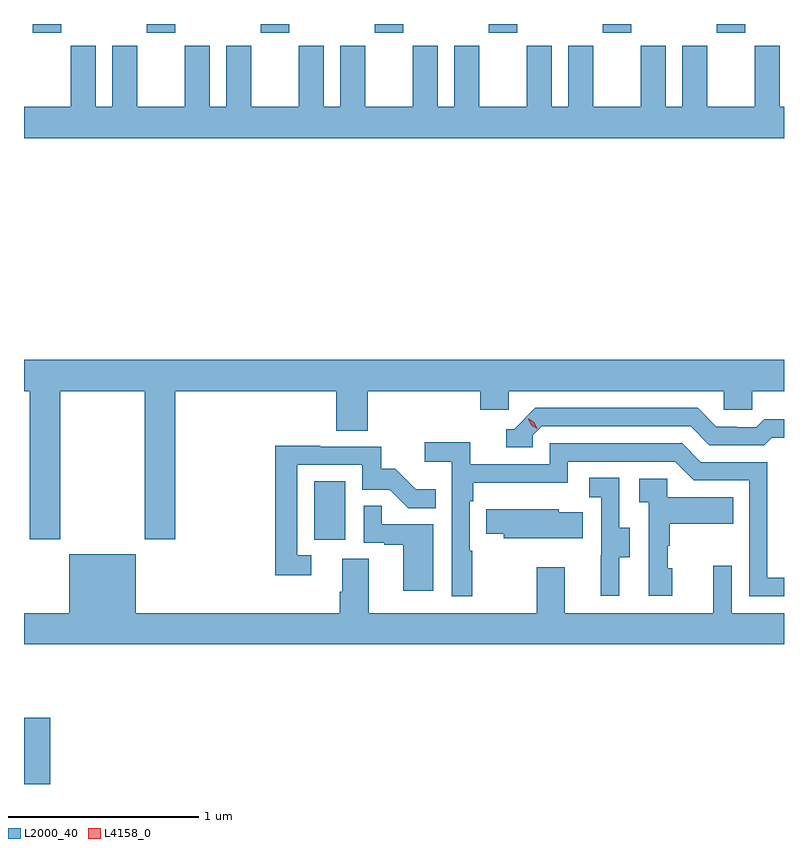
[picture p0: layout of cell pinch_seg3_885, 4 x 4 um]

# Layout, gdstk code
import gdstk
lib = gdstk.Library(unit=1e-6, precision=1e-09)
def R(c, l, rs):  # rectangles x0, y0, x1, y1
    for r in rs: c.add(gdstk.rectangle(r[:2], r[2:], *l))
def A(c, l, x, y, w, h, nx, ny, dx, dy):  # array of equal rectangles
    R(c, l, [(x+i*dx, y+j*dy, x+i*dx+w, y+j*dy+h) for i in range(nx) for j in range(ny)])
def P(c, l, *ps):  # polygons
    for p in ps: c.add(gdstk.Polygon(p, *l))
L2000_40 = (2000, 40)
L4158_0 = (4158, 0)

pinch_seg3_885 = lib.new_cell('pinch_seg3_885')
A(pinch_seg3_885, L2000_40, 856.257, 708.129, 0.15, 0.047, 7, 1, 0.6, 0)
R(pinch_seg3_885, L2000_40, [(856.211,704.176,856.349,704.524), (857.738,705.462,857.902,705.769)])
P(pinch_seg3_885, L2000_40, [(857.876,708.061),(857.876,707.74),(857.788,707.74),(857.788,708.061),(857.658,708.061),(857.658,707.948),(857.657,707.948),(857.657,707.74),(857.407,707.74),(857.407,707.948),(857.406,707.948),(857.406,708.061),(857.276,708.061),(857.276,707.74),(857.188,707.74),(857.188,708.061),(857.058,708.061),(857.058,707.948),(857.057,707.948),(857.057,707.74),(856.807,707.74),(856.807,707.948),(856.806,707.948),(856.806,708.061),(856.676,708.061),(856.676,707.74),(856.588,707.74),(856.588,708.061),(856.458,708.061),(856.458,707.948),(856.457,707.948),(856.457,707.74),(856.211,707.74),(856.211,707.576),(860.211,707.576),(860.211,707.74),(860.188,707.74),(860.188,708.061),(860.058,708.061),(860.058,707.948),(860.057,707.948),(860.057,707.74),(859.807,707.74),(859.807,707.948),(859.806,707.948),(859.806,708.061),(859.676,708.061),(859.676,707.74),(859.588,707.74),(859.588,708.061),(859.458,708.061),(859.458,707.948),(859.457,707.948),(859.457,707.74),(859.207,707.74),(859.207,707.948),(859.206,707.948),(859.206,708.061),(859.076,708.061),(859.076,707.74),(858.988,707.74),(858.988,708.061),(858.858,708.061),(858.858,707.948),(858.857,707.948),(858.857,707.74),(858.607,707.74),(858.607,707.948),(858.606,707.948),(858.606,708.061),(858.476,708.061),(858.476,707.74),(858.388,707.74),(858.388,708.061),(858.258,708.061),(858.258,707.948),(858.257,707.948),(858.257,707.74),(858.007,707.74),(858.007,707.948),(858.006,707.948),(858.006,708.061)],
  [(856.401,706.244),(856.846,706.244),(856.846,705.465),(857.006,705.465),(857.006,706.244),(857.855,706.244),(857.855,706.036),(858.02,706.036),(858.02,706.244),(858.611,706.244),(858.611,706.146),(858.762,706.146),(858.762,706.244),(859.893,706.244),(859.893,706.146),(860.043,706.146),(860.043,706.244),(860.211,706.244),(860.211,706.408),(856.211,706.408),(856.211,706.244),(856.241,706.244),(856.241,705.465),(856.401,705.465)],
  [(858.888,706.011),(858.936,706.059),(859.719,706.059),(859.818,705.96),(860.107,705.96),(860.146,705.999),(860.211,705.999),(860.211,706.096),(860.107,706.096),(860.065,706.053),(859.962,706.053),(859.962,706.056),(859.855,706.056),(859.756,706.155),(858.903,706.155),(858.792,706.044),(858.749,706.044),(858.749,705.948),(858.888,705.948)],
  [(858.571,705.404),(858.558,705.404),(858.558,705.665),(858.575,705.665),(858.575,705.761),(859.074,705.761),(859.074,705.873),(859.638,705.873),(859.737,705.774),(860.028,705.774),(860.028,705.165),(860.211,705.165),(860.211,705.261),(860.124,705.261),(860.124,705.87),(859.774,705.87),(859.675,705.969),(858.978,705.969),(858.978,705.858),(858.56,705.858),(858.56,705.974),(858.321,705.974),(858.321,705.872),(858.462,705.872),(858.462,705.165),(858.571,705.165)],
  [(857.722,705.381),(857.649,705.381),(857.649,705.855),(857.991,705.855),(857.991,705.726),(858.135,705.726),(858.233,705.628),(858.377,705.628),(858.377,705.727),(858.273,705.727),(858.166,705.834),(858.09,705.834),(858.09,705.951),(857.771,705.951),(857.771,705.956),(857.533,705.956),(857.533,705.276),(857.722,705.276)],
  [(859.345,705.37),(859.399,705.37),(859.399,705.525),(859.344,705.525),(859.344,705.788),(859.185,705.788),(859.185,705.685),(859.248,705.685),(859.248,705.381),(859.247,705.381),(859.247,705.168),(859.345,705.168)],
  [(859.624,705.312),(859.599,705.312),(859.599,705.431),(859.609,705.431),(859.609,705.545),(859.943,705.545),(859.943,705.685),(859.596,705.685),(859.596,705.783),(859.449,705.783),(859.449,705.659),(859.5,705.659),(859.5,705.168),(859.624,705.168)],
  [(858.364,705.543),(858.095,705.543),(858.095,705.641),(858,705.641),(858,705.447),(858.107,705.447),(858.107,705.435),(858.206,705.435),(858.206,705.192),(858.364,705.192)],
  [(859.151,705.607),(859.026,705.607),(859.026,705.622),(858.754,705.622),(858.754,705.621),(858.643,705.621),(858.643,705.493),(858.737,705.493),(858.737,705.47),(859.151,705.47)],
  [(859.838,705.325),(859.838,705.076),(859.057,705.076),(859.057,705.316),(858.91,705.316),(858.91,705.076),(858.025,705.076),(858.025,705.362),(857.885,705.362),(857.885,705.188),(857.873,705.188),(857.873,705.076),(856.798,705.076),(856.798,705.385),(856.448,705.385),(856.448,705.076),(856.211,705.076),(856.211,704.912),(860.211,704.912),(860.211,705.076),(859.935,705.076),(859.935,705.325)])
P(pinch_seg3_885, L4158_0, [(858.913,706.046),(858.882,706.065),(858.866,706.098),(858.866,706.098),(858.867,706.098),(858.897,706.079),(858.913,706.046),(858.913,706.046)])

lib.write_gds('pinch_seg3_885.gds')
